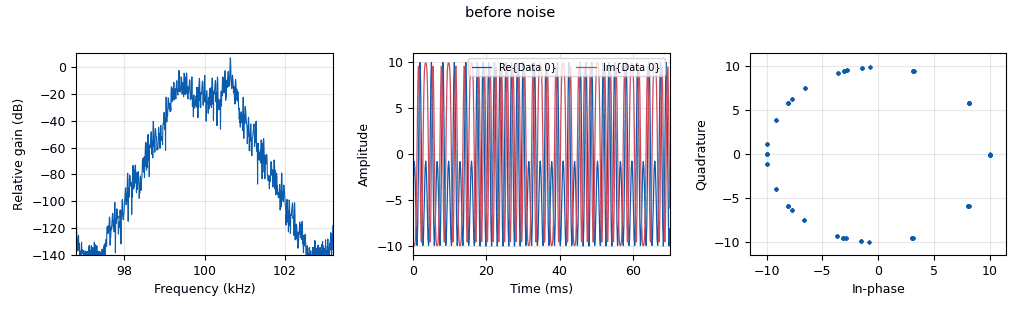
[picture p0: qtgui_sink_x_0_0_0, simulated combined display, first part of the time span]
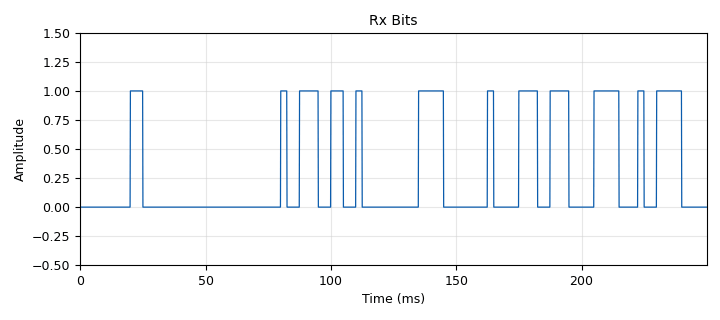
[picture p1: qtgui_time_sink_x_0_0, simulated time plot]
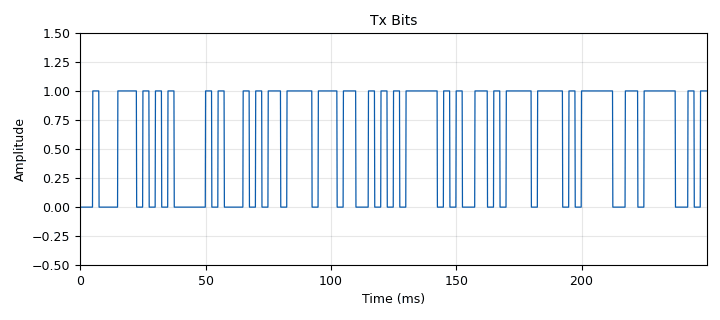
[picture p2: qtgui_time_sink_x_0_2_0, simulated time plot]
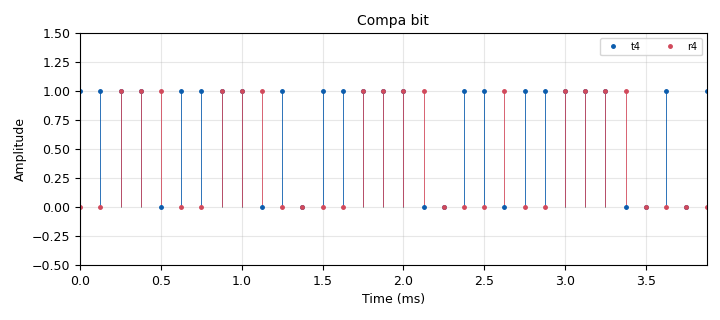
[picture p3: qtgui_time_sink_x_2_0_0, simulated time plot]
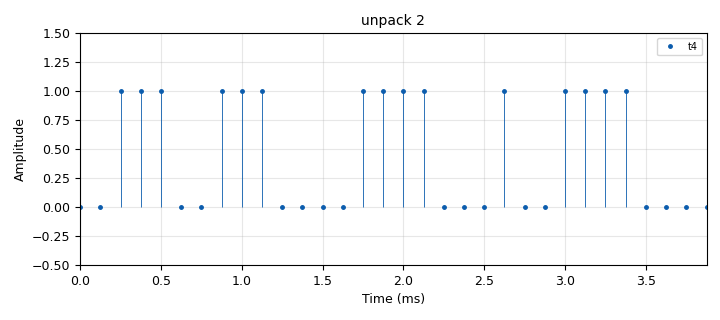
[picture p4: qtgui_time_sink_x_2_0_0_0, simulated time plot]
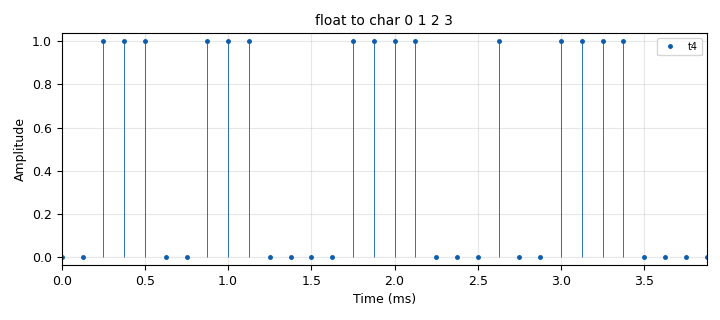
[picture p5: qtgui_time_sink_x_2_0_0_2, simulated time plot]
options:
  parameters:
    author: clsor
    generate_options: qt_gui
    id: GFSKloopback
    output_language: python
    title: Not titled yet
  states: {}

blocks:
- name: M
  id: variable
  parameters:
    value: '2'
  states: {}
- name: Pn
  id: variable_qtgui_range
  parameters:
    gui_hint: 2,0,1,1
    label: Potentiel of the noise
    start: '0'
    step: 1/100
    stop: '1'
    value: '0'
  states: {state: disabled}
- name: Rb
  id: variable
  parameters:
    value: '400'
  states: {}
- name: Rs
  id: variable
  parameters:
    value: Rb/bps
  states: {}
- name: Sps
  id: variable
  parameters:
    value: '20'
  states: {}
- name: bps
  id: variable
  parameters:
    value: int(math.log(M,2))
  states: {}
- name: bw
  id: variable
  parameters:
    value: (2**m)*Rb/m
  states: {}
- name: center_freq
  id: variable
  parameters:
    value: '100000'
  states: {}
- name: eb_n0_dB
  id: variable_qtgui_range
  parameters:
    gui_hint: 2,0,1,1
    label: Eb/N0
    start: '-5'
    step: 1/100
    stop: '15'
    value: '0'
  states: {}
- name: eb_n0_dB
  id: variable_qtgui_range
  parameters:
    gui_hint: 2,0,1,1
    label: Eb/N0
    start: '-5'
    step: 1/100
    stop: '15'
    value: '15'
  states: {state: disabled}
- name: fsk_deviation
  id: variable
  parameters:
    value: bw/m
  states: {}
- name: m
  id: variable
  parameters:
    value: int(math.log(M,2))
  states: {}
- name: ndisp
  id: variable
  parameters:
    value: '2000'
  states: {}
- name: noise_power
  id: variable
  parameters:
    value: (sig_power)*10**(-eb_n0_dB/10)/Sps
  states: {state: disabled}
- name: noise_power
  id: variable
  parameters:
    value: (sig_power*bw/(Sps*Rs))*10**(-eb_n0_dB/10)
  states: {}
- name: noise_power_0
  id: variable
  parameters:
    value: '0'
  states: {}
- name: num_samples
  id: variable
  parameters:
    value: '10000'
  states: {}
- name: packet_len
  id: variable
  parameters:
    value: '240'
  states: {}
- name: samp_rate
  id: variable
  parameters:
    value: (Sps*Rb)/bps
  states: {}
- name: sig_power
  id: variable
  parameters:
    value: '1'
  states: {}
- name: analog_const_source_x_0
  id: analog_const_source_x
  parameters:
    const: '1'
    type: complex
  states: {state: disabled}
- name: analog_frequency_modulator_fc_0
  id: analog_frequency_modulator_fc
  parameters:
    sensitivity: (2*math.pi*fsk_deviation)/samp_rate
  states: {state: disabled}
- name: analog_noise_source_x_0
  id: analog_noise_source_x
  parameters:
    amp: math.sqrt(2*noise_power)
    noise_type: analog.GR_GAUSSIAN
    seed: '0'
    type: complex
  states: {state: disabled}
- name: analog_noise_source_x_0_0
  id: analog_noise_source_x
  parameters:
    amp: math.sqrt(2*noise_power)
    noise_type: analog.GR_GAUSSIAN
    seed: '0'
    type: complex
  states: {}
- name: analog_quadrature_demod_cf_0
  id: analog_quadrature_demod_cf
  parameters:
    gain: '10'
  states: {state: disabled}
- name: analog_quadrature_demod_cf_0_0
  id: analog_quadrature_demod_cf
  parameters:
    gain: samp_rate/(2*math.pi*fsk_deviation)
  states: {}
- name: analog_random_source_x_0
  id: analog_random_source_x
  parameters:
    comment: Bits Generation
    max: '2'
    min: '0'
    num_samps: num_samples
    repeat: 'False'
    type: byte
  states: {state: disabled}
- name: analog_random_source_x_0_0
  id: analog_random_source_x
  parameters:
    comment: Bits Generation
    max: '2'
    min: '0'
    num_samps: num_samples
    repeat: 'False'
    type: byte
  states: {state: disabled}
- name: analog_random_source_x_0_1
  id: analog_random_source_x
  parameters:
    comment: Bits Generation
    max: '2'
    min: '0'
    num_samps: num_samples
    repeat: 'False'
    type: byte
  states: {}
- name: analog_sig_source_x_0
  id: analog_sig_source_x
  parameters:
    amp: '1'
    freq: center_freq+fsk_deviation
    offset: '0'
    phase: '0'
    samp_rate: samp_rate
    type: complex
    waveform: analog.GR_COS_WAVE
  states: {state: disabled}
- name: analog_sig_source_x_0_0
  id: analog_sig_source_x
  parameters:
    amp: '1'
    freq: center_freq-fsk_deviation
    offset: '0'
    phase: '0'
    samp_rate: samp_rate
    type: complex
    waveform: analog.GR_COS_WAVE
  states: {state: disabled}
- name: blocks_add_const_vxx_0
  id: blocks_add_const_vxx
  parameters:
    const: '-3'
    type: float
  states: {state: disabled}
- name: blocks_add_const_vxx_0_1
  id: blocks_add_const_vxx
  parameters:
    const: '1'
    type: float
  states: {state: disabled}
- name: blocks_add_const_vxx_0_1_0
  id: blocks_add_const_vxx
  parameters:
    const: '1'
    type: float
  states: {state: disabled}
- name: blocks_add_xx_0
  id: blocks_add_xx
  parameters:
    type: complex
  states: {state: disabled}
- name: blocks_add_xx_1
  id: blocks_add_xx
  parameters:
    type: complex
  states: {state: disabled}
- name: blocks_add_xx_1_0
  id: blocks_add_xx
  parameters:
    type: complex
  states: {}
- name: blocks_char_to_float_0
  id: blocks_char_to_float
  parameters:
    scale: '1'
  states: {state: disabled}
- name: blocks_char_to_float_0_0_0_0
  id: blocks_char_to_float
  parameters:
    scale: '1'
  states: {state: disabled}
- name: blocks_char_to_float_0_0_1
  id: blocks_char_to_float
  parameters:
    scale: '1'
  states: {state: disabled}
- name: blocks_char_to_float_0_0_1_0
  id: blocks_char_to_float
  parameters:
    scale: '1'
  states: {}
- name: blocks_char_to_float_0_1
  id: blocks_char_to_float
  parameters:
    scale: '1'
  states: {state: disabled}
- name: blocks_char_to_float_0_1_0
  id: blocks_char_to_float
  parameters:
    scale: '1'
  states: {}
- name: blocks_char_to_float_0_1_0_0
  id: blocks_char_to_float
  parameters:
    scale: '1'
  states: {}
- name: blocks_char_to_float_0_1_0_1
  id: blocks_char_to_float
  parameters:
    scale: '1'
  states: {state: disabled}
- name: blocks_char_to_float_0_1_0_1_0
  id: blocks_char_to_float
  parameters:
    scale: '1'
  states: {state: disabled}
- name: blocks_char_to_float_0_1_0_2
  id: blocks_char_to_float
  parameters:
    scale: '1'
  states: {}
- name: blocks_char_to_float_0_1_0_2_0
  id: blocks_char_to_float
  parameters:
    scale: '1'
  states: {}
- name: blocks_char_to_float_0_2
  id: blocks_char_to_float
  parameters:
    scale: '1'
  states: {state: disabled}
- name: blocks_char_to_float_0_2_0
  id: blocks_char_to_float
  parameters:
    scale: '1'
  states: {}
- name: blocks_char_to_float_0_2_0_0
  id: blocks_char_to_float
  parameters:
    scale: '1'
  states: {}
- name: blocks_char_to_float_1
  id: blocks_char_to_float
  parameters:
    scale: '1'
  states: {state: disabled}
- name: blocks_complex_to_float_0
  id: blocks_complex_to_float
  parameters: {}
  states: {}
- name: blocks_delay_1_0_0_0
  id: blocks_delay
  parameters:
    delay: '0'
    type: byte
  states: {state: disabled}
- name: blocks_delay_1_0_0_0_0
  id: blocks_delay
  parameters:
    delay: '0'
    type: byte
  states: {}
- name: blocks_float_to_char_0_0
  id: blocks_float_to_char
  parameters:
    scale: '1'
  states: {state: disabled}
- name: blocks_float_to_uchar_0
  id: blocks_float_to_uchar
  parameters:
    bias: '0'
    scale: '1'
    vlen: '1'
  states: {}
- name: blocks_keep_one_in_n_0
  id: blocks_keep_one_in_n
  parameters:
    n: Sps
    type: float
  states: {}
- name: blocks_multiply_const_vxx_0
  id: blocks_multiply_const_vxx
  parameters:
    const: '0.9'
    type: complex
  states: {state: disabled}
- name: blocks_multiply_const_vxx_0_0
  id: blocks_multiply_const_vxx
  parameters:
    const: '2'
    type: float
  states: {state: disabled}
- name: blocks_multiply_const_vxx_0_0_0
  id: blocks_multiply_const_vxx
  parameters:
    const: '10'
    type: complex
  states: {}
- name: blocks_multiply_const_vxx_0_1
  id: blocks_multiply_const_vxx
  parameters:
    const: '2'
    type: float
  states: {state: disabled}
- name: blocks_multiply_xx_0
  id: blocks_multiply_xx
  parameters:
    type: complex
  states: {state: disabled}
- name: blocks_multiply_xx_0_0
  id: blocks_multiply_xx
  parameters:
    type: complex
  states: {state: disabled}
- name: blocks_pack_k_bits_bb_0
  id: blocks_pack_k_bits_bb
  parameters:
    k: '8'
  states: {state: disabled}
- name: blocks_pack_k_bits_bb_0_0
  id: blocks_pack_k_bits_bb
  parameters:
    k: '1'
  states: {state: disabled}
- name: blocks_repack_bits_bb_0
  id: blocks_repack_bits_bb
  parameters:
    endianness: gr.GR_LSB_FIRST
    k: '8'
    l: '2'
  states: {state: disabled}
- name: blocks_repack_bits_bb_1
  id: blocks_repack_bits_bb
  parameters:
    endianness: gr.GR_LSB_FIRST
    k: '2'
    l: '8'
  states: {state: bypassed}
- name: blocks_repeat_0
  id: blocks_repeat
  parameters:
    interp: Sps
    type: byte
  states: {state: disabled}
- name: blocks_repeat_0_0
  id: blocks_repeat
  parameters:
    interp: Sps
    type: byte
  states: {state: disabled}
- name: blocks_repeat_0_0_0
  id: blocks_repeat
  parameters:
    interp: Sps
    type: byte
  states: {}
- name: blocks_repeat_0_0_0_0
  id: blocks_repeat
  parameters:
    interp: Sps
    type: byte
  states: {}
- name: blocks_repeat_1
  id: blocks_repeat
  parameters:
    interp: Sps
    type: float
  states: {state: disabled}
- name: blocks_skiphead_0
  id: blocks_skiphead
  parameters:
    num_items: '0'
    type: byte
  states: {state: disabled}
- name: blocks_skiphead_0_0
  id: blocks_skiphead
  parameters:
    num_items: '0'
    type: byte
  states: {state: disabled}
- name: blocks_skiphead_0_0_0
  id: blocks_skiphead
  parameters:
    num_items: '0'
    type: byte
  states: {}
- name: blocks_skiphead_0_1
  id: blocks_skiphead
  parameters:
    num_items: '0'
    type: byte
  states: {}
- name: blocks_stream_mux_1
  id: blocks_stream_mux
  parameters:
    lengths: '[16,num_samples]'
    type: byte
  states: {state: disabled}
- name: blocks_stream_to_tagged_stream_0
  id: blocks_stream_to_tagged_stream
  parameters:
    len_tag_key: '"packet_len"'
    packet_len: packet_len
    type: byte
  states: {state: disabled}
- name: blocks_stream_to_tagged_stream_0_0
  id: blocks_stream_to_tagged_stream
  parameters:
    len_tag_key: '"packet_len"'
    packet_len: packet_len
    type: byte
  states: {}
- name: blocks_sub_xx_0
  id: blocks_sub_xx
  parameters:
    type: complex
  states: {state: disabled}
- name: blocks_threshold_ff_0
  id: blocks_threshold_ff
  parameters:
    high: '0.5'
    init: '0'
    low: '0.5'
  states: {state: disabled}
- name: blocks_throttle2_0
  id: blocks_throttle2
  parameters:
    samples_per_second: samp_rate
    type: complex
  states: {state: disabled}
- name: blocks_throttle2_0_0
  id: blocks_throttle2
  parameters:
    samples_per_second: samp_rate
    type: complex
  states: {}
- name: blocks_uchar_to_float_0
  id: blocks_uchar_to_float
  parameters: {}
  states: {state: disabled}
- name: blocks_uchar_to_float_1
  id: blocks_uchar_to_float
  parameters: {}
  states: {state: disabled}
- name: blocks_unpack_k_bits_bb_0_0
  id: blocks_unpack_k_bits_bb
  parameters:
    k: '8'
  states: {state: bypassed}
- name: blocks_unpack_k_bits_bb_1
  id: blocks_unpack_k_bits_bb
  parameters:
    k: m
  states: {}
- name: blocks_unpacked_to_packed_xx_0
  id: blocks_unpacked_to_packed_xx
  parameters:
    bits_per_chunk: '1'
    endianness: gr.GR_MSB_FIRST
    type: byte
  states: {state: disabled}
- name: blocks_unpacked_to_packed_xx_1
  id: blocks_unpacked_to_packed_xx
  parameters:
    bits_per_chunk: '1'
    endianness: gr.GR_MSB_FIRST
    type: byte
  states: {}
- name: blocks_vector_source_x_0
  id: blocks_vector_source_x
  parameters:
    repeat: 'False'
    type: byte
    vector: (1,0, 1, 0, 1, 0, 1, 0, 1,0 ,1,0,  1,0, 1,0)
  states: {state: disabled}
- name: blocks_vector_source_x_0_0
  id: blocks_vector_source_x
  parameters:
    repeat: 'False'
    type: byte
    vector: (0,1,1,0,0,1,1,0,0,1,1,0,0,1,1,0,0,1,1,0,0,1,1,0,0,1,1,0,0,1,1,0,0,1,1,0,0,1,1,0,0,1,1,0,0,1,1,0,0,1,1,0,0,1,1,0,0,1,1,0,0,1,1,0,0,1,1,0,0,1,1,0,0,1,1,0,0,1,1,0, 0,1,1,0,0,1,1,0,0,1,1,0,0,1,1,0,0,1,1,0,0,1,1,0,0,1,1,0,0,1,1,0,0,1,1,0,0,1,1,0,0,1,1,0,0,1,1,0,0,1,1,0,0,1,1,0,0,1,1,0,0,1,1,0,0,1,1,0,0,1,1,0,0,1,1,0,0,1,1,0, 1,1,1,1,0,0,0)
  states: {state: disabled}
- name: blocks_vector_to_stream_0
  id: blocks_vector_to_stream
  parameters:
    num_items: '1'
    type: byte
  states: {state: disabled}
- name: digital_binary_slicer_fb_0
  id: digital_binary_slicer_fb
  parameters: {}
  states: {state: disabled}
- name: digital_chunks_to_symbols_xx_0
  id: digital_chunks_to_symbols_xx
  parameters:
    dimension: '1'
    in_type: byte
    out_type: float
    symbol_table: '[0, 1]'
  states: {state: disabled}
- name: digital_clock_recovery_mm_xx_0_0
  id: digital_clock_recovery_mm_xx
  parameters:
    gain_mu: '0.1'
    gain_omega: '0.01'
    mu: '0.5'
    omega: Sps*(1+0.0)
    omega_relative_limit: '0.05'
    type: float
  states: {state: disabled}
- name: digital_clock_recovery_mm_xx_0_0_0
  id: digital_clock_recovery_mm_xx
  parameters:
    gain_mu: '8'
    gain_omega: '0.01'
    mu: '0.5'
    omega: Sps*(1+0.0)
    omega_relative_limit: '0.05'
    type: float
  states: {state: disabled}
- name: digital_gfsk_demod_0
  id: digital_gfsk_demod
  parameters:
    freq_error: '0.0'
    gain_mu: '0.1'
    mu: '0.5'
    omega_relative_limit: '0.005'
    samples_per_symbol: Sps
    sensitivity: '1'
  states: {state: disabled}
- name: digital_gfsk_demod_1
  id: digital_gfsk_demod
  parameters:
    freq_error: '0.0'
    gain_mu: '0.175'
    mu: '0.5'
    omega_relative_limit: '0.005'
    samples_per_symbol: Sps
    sensitivity: (2*math.pi*fsk_deviation)/samp_rate
  states: {state: disabled}
- name: digital_gfsk_mod_0
  id: digital_gfsk_mod
  parameters:
    bt: '0.1'
    samples_per_symbol: Sps
    sensitivity: '1'
  states: {state: disabled}
- name: digital_gfsk_mod_1
  id: digital_gfsk_mod
  parameters:
    bt: '2'
    samples_per_symbol: Sps
    sensitivity: '1.88'
  states: {state: disabled}
- name: digital_gfsk_mod_2
  id: digital_gfsk_mod
  parameters:
    bt: bw*0.001
    samples_per_symbol: Sps
    sensitivity: (2*math.pi*fsk_deviation)/samp_rate
  states: {}
- name: digital_protocol_formatter_bb_0
  id: digital_protocol_formatter_bb
  parameters:
    len_tag_key: '"packet_len"'
  states: {state: disabled}
- name: epy_block_0
  id: epy_block
  parameters:
    _source_code: |
      import numpy as np
      from gnuradio import gr

      class inversedB(gr.sync_block):  

          def __init__(self, ): 
              gr.sync_block.__init__(
                  self,
                  name='e_inversedB_ff',
                  in_sig=[np.float32],
                  out_sig=[np.float32]
              )

          def work(self, input_items, output_items):
              x=input_items[0]
              y=output_items[0]
              y[:]=np.power(10,x)
              return len(y)
  states: {state: disabled}
- name: epy_block_0_0
  id: epy_block
  parameters:
    _source_code: |
      import numpy as np
      from gnuradio import gr

      class inversedB(gr.sync_block):  

          def __init__(self, ): 
              gr.sync_block.__init__(
                  self,
                  name='e_inversedB_ff',
                  in_sig=[np.float32],
                  out_sig=[np.float32]
              )

          def work(self, input_items, output_items):
              x=input_items[0]
              y=output_items[0]
              y[:]=np.power(10,x)
              return len(y)
  states: {state: bypassed}
- name: fec_ber_bf_0
  id: fec_ber_bf
  parameters:
    test_mode: 'False'
  states: {state: disabled}
- name: fec_ber_bf_0_0
  id: fec_ber_bf
  parameters:
    test_mode: 'False'
  states: {}
- name: freq_xlating_fir_filter_xxx_0
  id: freq_xlating_fir_filter_xxx
  parameters:
    center_freq: center_freq
    decim: '1'
    samp_rate: samp_rate
    taps: firdes.low_pass(1.0,samp_rate,900,300)
    type: ccf
  states: {state: disabled}
- name: freq_xlating_fir_filter_xxx_0_0
  id: freq_xlating_fir_filter_xxx
  parameters:
    center_freq: center_freq
    decim: '1'
    samp_rate: samp_rate
    taps: firdes.low_pass(1.0,samp_rate,900,300)
    type: ccc
  states: {state: disabled}
- name: import_0
  id: import
  parameters:
    imports: import math
  states: {state: disabled}
- name: import_0_0
  id: import
  parameters:
    imports: import math
  states: {}
- name: low_pass_filter_0
  id: low_pass_filter
  parameters:
    cutoff_freq: samp_rate/100
    decim: '1'
    gain: '1'
    samp_rate: samp_rate
    type: fir_filter_fff
    width: samp_rate/100
    win: window.WIN_HAMMING
  states: {state: disabled}
- name: qtgui_number_sink_0
  id: qtgui_number_sink
  parameters:
    graph_type: qtgui.NUM_GRAPH_HORIZ
    name: BER between Tx and Rx
    type: float
  states: {state: disabled}
- name: qtgui_number_sink_0_0
  id: qtgui_number_sink
  parameters:
    graph_type: qtgui.NUM_GRAPH_HORIZ
    name: '''0 1 2 3'''
    type: byte
  states: {state: disabled}
- name: qtgui_number_sink_0_0_0
  id: qtgui_number_sink
  parameters:
    graph_type: qtgui.NUM_GRAPH_HORIZ
    name: BER between Tx and Rx
    type: float
  states: {}
- name: qtgui_number_sink_0_1
  id: qtgui_number_sink
  parameters:
    graph_type: qtgui.NUM_GRAPH_HORIZ
    name: '"unpack 2 bits"'
    type: byte
  states: {state: disabled}
- name: qtgui_sink_x_0
  id: qtgui_sink_x
  parameters:
    bw: samp_rate*8
    fc: center_freq
    fftsize: '1024'
    name: after noise
    type: complex
  states: {state: disabled}
- name: qtgui_sink_x_0_0
  id: qtgui_sink_x
  parameters:
    bw: bw*8
    fc: center_freq
    fftsize: '1024'
    name: before noise
    showrf: 'True'
    type: complex
  states: {state: disabled}
- name: qtgui_sink_x_0_0_0
  id: qtgui_sink_x
  parameters:
    bw: bw*8
    fc: center_freq
    fftsize: '1024'
    name: '''before noise'''
    showrf: 'True'
    type: complex
  states: {}
- name: qtgui_sink_x_1
  id: qtgui_sink_x
  parameters:
    bw: samp_rate
    fc: '0'
    fftsize: '1024'
    type: complex
  states: {state: disabled}
- name: qtgui_time_sink_x_0
  id: qtgui_time_sink_x
  parameters:
    grid: 'True'
    legend: 'False'
    name: Rx Bits
    size: ndisp
    srate: samp_rate
    type: float
    ymax: '1.5'
    ymin: '-0.5'
  states: {state: disabled}
- name: qtgui_time_sink_x_0_0
  id: qtgui_time_sink_x
  parameters:
    grid: 'True'
    legend: 'False'
    name: Rx Bits
    size: ndisp
    srate: samp_rate
    type: float
    ymax: '1.5'
    ymin: '-0.5'
  states: {}
- name: qtgui_time_sink_x_0_1
  id: qtgui_time_sink_x
  parameters:
    name: CLOCK RECO
    size: '1024'
    srate: samp_rate
    type: float
  states: {state: disabled}
- name: qtgui_time_sink_x_0_1_0
  id: qtgui_time_sink_x
  parameters:
    name: CLOCK RECO
    size: '1024'
    srate: samp_rate
    type: float
    ymax: '4'
  states: {state: disabled}
- name: qtgui_time_sink_x_0_2
  id: qtgui_time_sink_x
  parameters:
    grid: 'True'
    legend: 'False'
    name: Tx Bits
    size: ndisp
    srate: samp_rate
    type: float
    ymax: '1.5'
    ymin: '-0.5'
  states: {state: disabled}
- name: qtgui_time_sink_x_0_2_0
  id: qtgui_time_sink_x
  parameters:
    grid: 'True'
    legend: 'False'
    name: Tx Bits
    size: ndisp
    srate: samp_rate
    type: float
    ymax: '1.5'
    ymin: '-0.5'
  states: {}
- name: qtgui_time_sink_x_0_3
  id: qtgui_time_sink_x
  parameters:
    size: '1024'
    srate: samp_rate
    type: float
    ymax: '2'
    ymin: '-2'
  states: {state: disabled}
- name: qtgui_time_sink_x_2_0
  id: qtgui_time_sink_x
  parameters:
    label1: t4
    label2: r4
    marker1: '0'
    marker2: '0'
    name: Compa bit
    nconnections: '2'
    size: 32*bps
    srate: samp_rate
    stemplot: 'True'
    type: float
    width1: '3'
    width2: '3'
    ymax: '1.5'
    ymin: '-0.5'
  states: {state: disabled}
- name: qtgui_time_sink_x_2_0_0
  id: qtgui_time_sink_x
  parameters:
    label1: t4
    label2: r4
    marker1: '0'
    marker2: '0'
    name: Compa bit
    nconnections: '2'
    size: 32*bps
    srate: samp_rate
    stemplot: 'True'
    type: float
    width1: '3'
    width2: '3'
    ymax: '1.5'
    ymin: '-0.5'
  states: {}
- name: qtgui_time_sink_x_2_0_0_0
  id: qtgui_time_sink_x
  parameters:
    label1: t4
    marker1: '0'
    name: unpack 2
    size: 32*bps
    srate: samp_rate
    stemplot: 'True'
    type: float
    width1: '3'
    ymax: '1.5'
    ymin: '-0.5'
  states: {}
- name: qtgui_time_sink_x_2_0_0_1
  id: qtgui_time_sink_x
  parameters:
    label1: t4
    marker1: '0'
    name: apres repack
    size: 32*bps
    srate: samp_rate
    stemplot: 'True'
    type: float
    width1: '3'
    ymax: '1.5'
    ymin: '-0.5'
  states: {state: disabled}
- name: qtgui_time_sink_x_2_0_0_2
  id: qtgui_time_sink_x
  parameters:
    label1: t4
    marker1: '0'
    name: float to char 0 1 2 3
    size: 32*bps
    srate: samp_rate
    stemplot: 'True'
    type: float
    width1: '3'
    ymin: '0'
  states: {}
- name: qtgui_time_sink_x_2_0_0_2_0
  id: qtgui_time_sink_x
  parameters:
    label1: t4
    marker1: '0'
    name: TX float to char 0 1 2 3
    size: 32*bps
    srate: samp_rate
    stemplot: 'True'
    type: float
    width1: '3'
    ymax: '3'
    ymin: '-0'
  states: {}
- name: qtgui_time_sink_x_2_0_0_2_0_0
  id: qtgui_time_sink_x
  parameters:
    label1: t4
    marker1: '0'
    name: TX float to char 0 1 2 3
    size: 32*bps
    srate: samp_rate
    stemplot: 'True'
    type: float
    width1: '3'
    ymax: '3'
    ymin: '-0'
  states: {}
- name: rational_resampler_xxx_0
  id: rational_resampler_xxx
  parameters:
    decim: '1'
    interp: '10'
    type: ccc
  states: {state: disabled}
- name: rational_resampler_xxx_1
  id: rational_resampler_xxx
  parameters:
    decim: '1'
    interp: int(Sps/2)
    type: ccc
  states: {state: disabled}
- name: virtual_sink_0_0_0_0_0_0_0
  id: virtual_sink
  parameters:
    stream_id: r
  states: {state: disabled}
- name: virtual_sink_0_0_0_1_0
  id: virtual_sink
  parameters:
    stream_id: t
  states: {state: disabled}
- name: virtual_sink_0_0_0_1_0_0
  id: virtual_sink
  parameters:
    stream_id: r
  states: {}
- name: virtual_sink_0_0_0_1_0_1
  id: virtual_sink
  parameters:
    stream_id: t
  states: {}
- name: virtual_source_0_0_0_0_0_0_0
  id: virtual_source
  parameters:
    stream_id: r
  states: {state: disabled}
- name: virtual_source_0_0_0_0_0_0_0_0
  id: virtual_source
  parameters:
    stream_id: r
  states: {}
- name: virtual_source_0_0_0_0_1
  id: virtual_source
  parameters:
    stream_id: t
  states: {state: disabled}
- name: virtual_source_0_0_0_0_1_0
  id: virtual_source
  parameters:
    stream_id: t
  states: {}

connections:
- [analog_const_source_x_0, '0', blocks_sub_xx_0, '0']
- [analog_frequency_modulator_fc_0, '0', blocks_throttle2_0_0, '0']
- [analog_noise_source_x_0, '0', blocks_add_xx_1, '0']
- [analog_noise_source_x_0_0, '0', blocks_add_xx_1_0, '0']
- [analog_quadrature_demod_cf_0, '0', digital_clock_recovery_mm_xx_0_0, '0']
- [analog_quadrature_demod_cf_0_0, '0', blocks_keep_one_in_n_0, '0']
- [analog_quadrature_demod_cf_0_0, '0', low_pass_filter_0, '0']
- [analog_quadrature_demod_cf_0_0, '0', qtgui_time_sink_x_0_3, '0']
- [analog_random_source_x_0, '0', blocks_stream_mux_1, '1']
- [analog_random_source_x_0, '0', blocks_stream_to_tagged_stream_0, '0']
- [analog_random_source_x_0, '0', virtual_sink_0_0_0_1_0, '0']
- [analog_random_source_x_0_0, '0', blocks_unpacked_to_packed_xx_0, '0']
- [analog_random_source_x_0_1, '0', blocks_repeat_0_0_0_0, '0']
- [analog_random_source_x_0_1, '0', blocks_stream_to_tagged_stream_0_0, '0']
- [analog_random_source_x_0_1, '0', virtual_sink_0_0_0_1_0_1, '0']
- [analog_sig_source_x_0, '0', blocks_multiply_xx_0, '0']
- [analog_sig_source_x_0_0, '0', blocks_multiply_xx_0_0, '1']
- [blocks_add_const_vxx_0, '0', analog_frequency_modulator_fc_0, '0']
- [blocks_add_const_vxx_0, '0', digital_gfsk_mod_2, '0']
- [blocks_add_const_vxx_0_1, '0', blocks_float_to_uchar_0, '0']
- [blocks_add_const_vxx_0_1, '0', qtgui_time_sink_x_0_1_0, '0']
- [blocks_add_const_vxx_0_1_0, '0', qtgui_time_sink_x_2_0_0_2_0, '0']
- [blocks_add_xx_0, '0', blocks_throttle2_0, '0']
- [blocks_add_xx_1, '0', digital_gfsk_demod_0, '0']
- [blocks_add_xx_1, '0', freq_xlating_fir_filter_xxx_0, '0']
- [blocks_add_xx_1, '0', qtgui_sink_x_0, '0']
- [blocks_add_xx_1_0, '0', analog_quadrature_demod_cf_0_0, '0']
- [blocks_add_xx_1_0, '0', digital_gfsk_demod_1, '0']
- [blocks_add_xx_1_0, '0', rational_resampler_xxx_1, '0']
- [blocks_char_to_float_0, '0', qtgui_time_sink_x_0_2, '0']
- [blocks_char_to_float_0_0_0_0, '0', blocks_threshold_ff_0, '0']
- [blocks_char_to_float_0_0_1, '0', qtgui_time_sink_x_2_0, '1']
- [blocks_char_to_float_0_0_1_0, '0', qtgui_time_sink_x_2_0_0, '1']
- [blocks_char_to_float_0_1, '0', qtgui_time_sink_x_2_0, '0']
- [blocks_char_to_float_0_1_0, '0', qtgui_time_sink_x_2_0_0, '0']
- [blocks_char_to_float_0_1_0_0, '0', qtgui_time_sink_x_2_0_0_0, '0']
- [blocks_char_to_float_0_1_0_1, '0', qtgui_time_sink_x_2_0_0_1, '0']
- [blocks_char_to_float_0_1_0_1_0, '0', qtgui_time_sink_x_2_0_0_2_0, '0']
- [blocks_char_to_float_0_1_0_2, '0', qtgui_time_sink_x_2_0_0_2, '0']
- [blocks_char_to_float_0_1_0_2_0, '0', qtgui_time_sink_x_2_0_0_2_0_0, '0']
- [blocks_char_to_float_0_2, '0', qtgui_time_sink_x_0, '0']
- [blocks_char_to_float_0_2_0, '0', qtgui_time_sink_x_0_0, '0']
- [blocks_char_to_float_0_2_0_0, '0', qtgui_time_sink_x_0_2_0, '0']
- [blocks_char_to_float_1, '0', virtual_sink_0_0_0_0_0_0_0, '0']
- [blocks_complex_to_float_0, '0', qtgui_time_sink_x_2_0_0_2_0, '0']
- [blocks_delay_1_0_0_0, '0', blocks_skiphead_0, '0']
- [blocks_delay_1_0_0_0_0, '0', blocks_skiphead_0_1, '0']
- [blocks_float_to_char_0_0, '0', blocks_skiphead_0_0, '0']
- [blocks_float_to_uchar_0, '0', blocks_char_to_float_0_1_0_2, '0']
- [blocks_float_to_uchar_0, '0', blocks_unpack_k_bits_bb_1, '0']
- [blocks_float_to_uchar_0, '0', qtgui_number_sink_0_0, '0']
- [blocks_keep_one_in_n_0, '0', blocks_float_to_uchar_0, '0']
- [blocks_keep_one_in_n_0, '0', blocks_multiply_const_vxx_0_1, '0']
- [blocks_keep_one_in_n_0, '0', qtgui_time_sink_x_0_1, '0']
- [blocks_multiply_const_vxx_0, '0', rational_resampler_xxx_0, '0']
- [blocks_multiply_const_vxx_0_0, '0', blocks_add_const_vxx_0, '0']
- [blocks_multiply_const_vxx_0_0_0, '0', blocks_throttle2_0_0, '0']
- [blocks_multiply_const_vxx_0_1, '0', blocks_add_const_vxx_0_1, '0']
- [blocks_multiply_xx_0, '0', blocks_add_xx_0, '0']
- [blocks_multiply_xx_0_0, '0', blocks_add_xx_0, '1']
- [blocks_pack_k_bits_bb_0, '0', blocks_uchar_to_float_1, '0']
- [blocks_pack_k_bits_bb_0, '0', virtual_sink_0_0_0_0_0_0_0, '0']
- [blocks_pack_k_bits_bb_0_0, '0', blocks_repack_bits_bb_0, '0']
- [blocks_pack_k_bits_bb_0_0, '0', digital_chunks_to_symbols_xx_0, '0']
- [blocks_repack_bits_bb_0, '0', digital_chunks_to_symbols_xx_0, '0']
- [blocks_repack_bits_bb_1, '0', blocks_char_to_float_0_1_0_1, '0']
- [blocks_repack_bits_bb_1, '0', blocks_unpack_k_bits_bb_0_0, '0']
- [blocks_repeat_0, '0', blocks_char_to_float_0, '0']
- [blocks_repeat_0_0, '0', blocks_char_to_float_0_2, '0']
- [blocks_repeat_0_0_0, '0', blocks_char_to_float_0_2_0, '0']
- [blocks_repeat_0_0_0_0, '0', blocks_char_to_float_0_2_0_0, '0']
- [blocks_repeat_1, '0', blocks_multiply_const_vxx_0_0, '0']
- [blocks_skiphead_0, '0', blocks_char_to_float_0_1, '0']
- [blocks_skiphead_0, '0', fec_ber_bf_0, '0']
- [blocks_skiphead_0_0, '0', blocks_char_to_float_0_0_1, '0']
- [blocks_skiphead_0_0, '0', fec_ber_bf_0, '1']
- [blocks_skiphead_0_0_0, '0', blocks_char_to_float_0_0_1_0, '0']
- [blocks_skiphead_0_0_0, '0', fec_ber_bf_0_0, '1']
- [blocks_skiphead_0_1, '0', blocks_char_to_float_0_1_0, '0']
- [blocks_skiphead_0_1, '0', fec_ber_bf_0_0, '0']
- [blocks_stream_mux_1, '0', blocks_stream_to_tagged_stream_0, '0']
- [blocks_stream_mux_1, '0', virtual_sink_0_0_0_1_0, '0']
- [blocks_stream_to_tagged_stream_0, '0', blocks_repeat_0, '0']
- [blocks_stream_to_tagged_stream_0, '0', blocks_uchar_to_float_0, '0']
- [blocks_stream_to_tagged_stream_0, '0', digital_gfsk_mod_0, '0']
- [blocks_stream_to_tagged_stream_0_0, '0', blocks_char_to_float_0_1_0_2_0, '0']
- [blocks_stream_to_tagged_stream_0_0, '0', blocks_pack_k_bits_bb_0_0, '0']
- [blocks_stream_to_tagged_stream_0_0, '0', blocks_unpacked_to_packed_xx_1, '0']
- [blocks_sub_xx_0, '0', blocks_multiply_xx_0, '1']
- [blocks_sub_xx_0, '0', blocks_multiply_xx_0_0, '0']
- [blocks_threshold_ff_0, '0', blocks_float_to_char_0_0, '0']
- [blocks_throttle2_0, '0', blocks_add_xx_1, '1']
- [blocks_throttle2_0, '0', qtgui_sink_x_0_0, '0']
- [blocks_throttle2_0_0, '0', blocks_add_xx_1_0, '1']
- [blocks_throttle2_0_0, '0', qtgui_sink_x_0_0_0, '0']
- [blocks_uchar_to_float_0, '0', qtgui_time_sink_x_0_2, '0']
- [blocks_uchar_to_float_1, '0', qtgui_time_sink_x_0, '0']
- [blocks_unpack_k_bits_bb_0_0, '0', blocks_repeat_0_0_0, '0']
- [blocks_unpack_k_bits_bb_0_0, '0', virtual_sink_0_0_0_1_0_0, '0']
- [blocks_unpack_k_bits_bb_1, '0', blocks_char_to_float_0_1_0_0, '0']
- [blocks_unpack_k_bits_bb_1, '0', blocks_repack_bits_bb_1, '0']
- [blocks_unpack_k_bits_bb_1, '0', qtgui_number_sink_0_1, '0']
- [blocks_unpacked_to_packed_xx_0, '0', digital_gfsk_mod_1, '0']
- [blocks_unpacked_to_packed_xx_1, '0', digital_gfsk_mod_2, '0']
- [blocks_vector_source_x_0, '0', blocks_stream_mux_1, '0']
- [blocks_vector_source_x_0_0, '0', blocks_repeat_0_0_0_0, '0']
- [blocks_vector_source_x_0_0, '0', blocks_vector_to_stream_0, '0']
- [blocks_vector_source_x_0_0, '0', virtual_sink_0_0_0_1_0_1, '0']
- [blocks_vector_to_stream_0, '0', blocks_stream_to_tagged_stream_0_0, '0']
- [digital_binary_slicer_fb_0, '0', blocks_repeat_0_0, '0']
- [digital_binary_slicer_fb_0, '0', virtual_sink_0_0_0_0_0_0_0, '0']
- [digital_chunks_to_symbols_xx_0, '0', blocks_add_const_vxx_0_1_0, '0']
- [digital_chunks_to_symbols_xx_0, '0', blocks_repeat_1, '0']
- [digital_chunks_to_symbols_xx_0, '0', digital_gfsk_mod_2, '0']
- [digital_clock_recovery_mm_xx_0_0, '0', digital_binary_slicer_fb_0, '0']
- [digital_clock_recovery_mm_xx_0_0_0, '0', blocks_multiply_const_vxx_0_1, '0']
- [digital_clock_recovery_mm_xx_0_0_0, '0', qtgui_time_sink_x_0_1, '0']
- [digital_gfsk_demod_0, '0', blocks_pack_k_bits_bb_0, '0']
- [digital_gfsk_demod_0, '0', blocks_repeat_0_0, '0']
- [digital_gfsk_demod_1, '0', blocks_char_to_float_0_1_0_2, '0']
- [digital_gfsk_demod_1, '0', blocks_unpack_k_bits_bb_1, '0']
- [digital_gfsk_demod_1, '0', low_pass_filter_0, '0']
- [digital_gfsk_demod_1, '0', qtgui_time_sink_x_0_3, '0']
- [digital_gfsk_mod_0, '0', blocks_sub_xx_0, '1']
- [digital_gfsk_mod_1, '0', blocks_multiply_const_vxx_0, '0']
- [digital_gfsk_mod_2, '0', blocks_char_to_float_0_1_0_1_0, '0']
- [digital_gfsk_mod_2, '0', blocks_complex_to_float_0, '0']
- [digital_gfsk_mod_2, '0', blocks_multiply_const_vxx_0_0_0, '0']
- [epy_block_0, '0', qtgui_number_sink_0, '0']
- [epy_block_0_0, '0', qtgui_number_sink_0_0_0, '0']
- [fec_ber_bf_0, '0', epy_block_0, '0']
- [fec_ber_bf_0_0, '0', epy_block_0_0, '0']
- [freq_xlating_fir_filter_xxx_0, '0', analog_quadrature_demod_cf_0, '0']
- [freq_xlating_fir_filter_xxx_0, '0', digital_gfsk_demod_0, '0']
- [low_pass_filter_0, '0', blocks_keep_one_in_n_0, '0']
- [low_pass_filter_0, '0', digital_clock_recovery_mm_xx_0_0_0, '0']
- [rational_resampler_xxx_0, '0', qtgui_sink_x_1, '0']
- [rational_resampler_xxx_1, '0', blocks_float_to_uchar_0, '0']
- [virtual_source_0_0_0_0_0_0_0, '0', blocks_char_to_float_0_0_0_0, '0']
- [virtual_source_0_0_0_0_0_0_0_0, '0', blocks_skiphead_0_0_0, '0']
- [virtual_source_0_0_0_0_1, '0', blocks_delay_1_0_0_0, '0']
- [virtual_source_0_0_0_0_1_0, '0', blocks_delay_1_0_0_0_0, '0']

metadata:
  file_format: 1
  grc_version: 3.10.10.0
